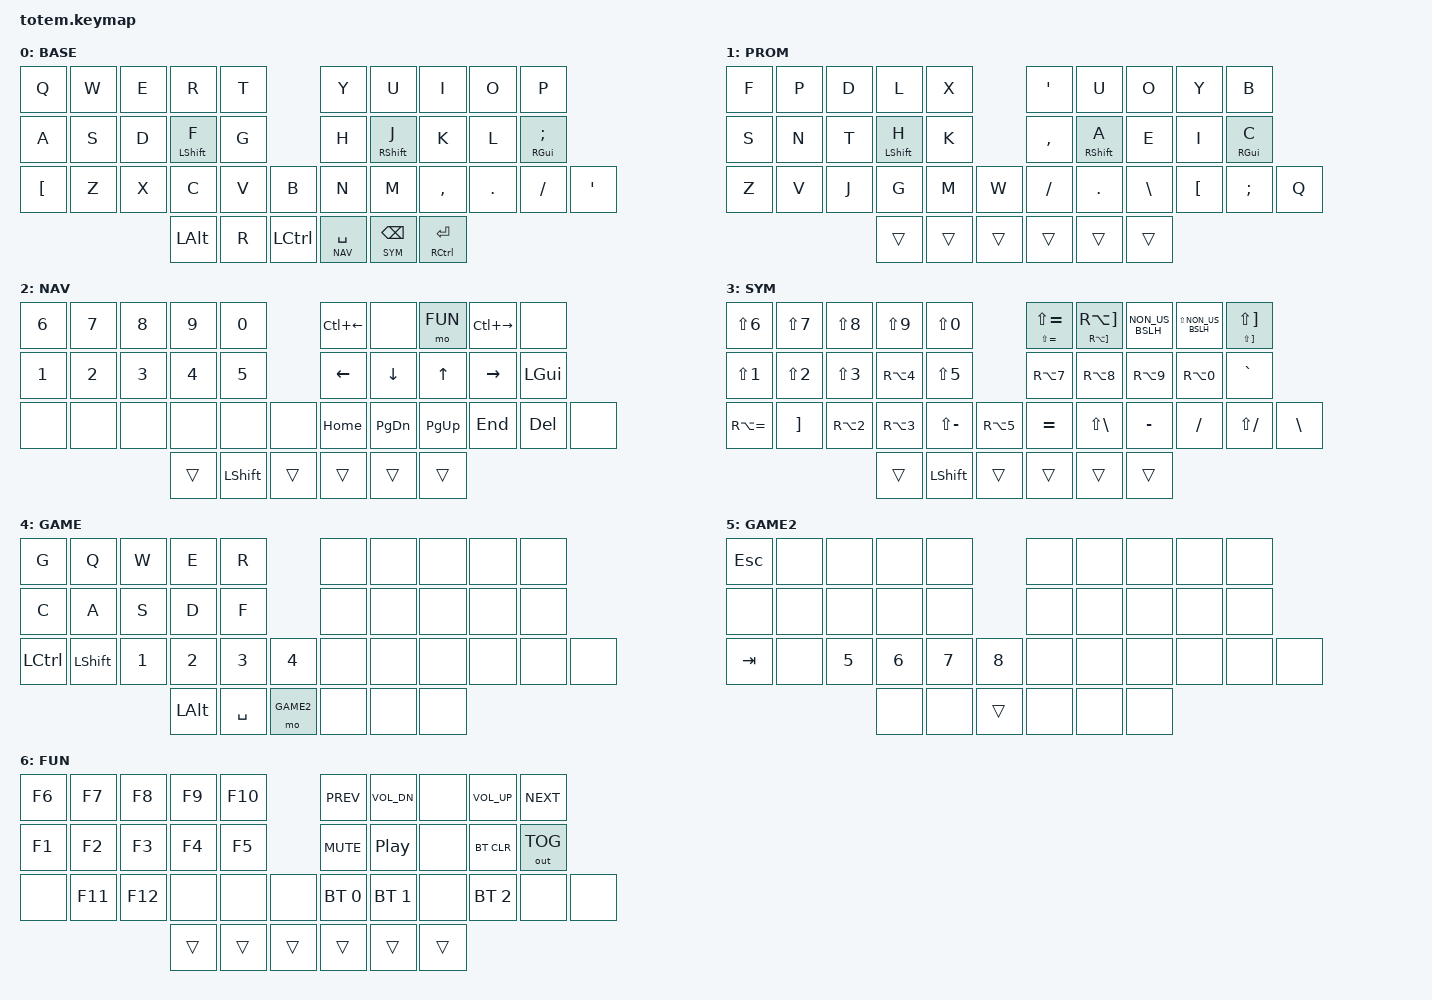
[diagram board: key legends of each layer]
// TOTEM — Norwegian layout (assumes OS set to standard Norwegian)
// BASE:  qwerty · shift-only homerow mods · bare LALT/R/LCTL on left thumb
// PROM:  toggled Hands Down Promethium (Norwegian-tuned), combo top corners
// NAV:   hold SPC (right INNER thumb) — numbers left, vim nav right, LSHFT+LGUI added
// SYM:   hold BSP (right MIDDLE thumb) — number-derived left, punctuation right
// FUN:   hold SPC (NAV) + the FUN key on NAV pos 7 (right middle finger)
// Layer order is load-bearing: PROM (toggle) below NAV/SYM (holds); FUN on top.
// FUN is reached thumb+finger on ONE hand, leaving the left hand free for F-keys.
// ESC = combo 27+28 · TAB = combo 18+29 · Caps Word = combo 13+16
// Every always-live combo needs at least one RIGHT-hand key; GAME never uses
// the right hand, so no combo can fire while gaming.
//
// SPC sits on the INNER right thumb key because it is the single most frequent
// keystroke (~17% of all input) and that is the most comfortable thumb position.

#include <behaviors.dtsi>
#include <dt-bindings/zmk/keys.h>
#include <dt-bindings/zmk/bt.h>
#include <dt-bindings/zmk/outputs.h>

#define BASE  0
#define PROM  1
#define NAV   2
#define SYM   3
#define GAME  4
#define GAME2 5
#define FUN   6

&mt {   // used for RGUI on Ø (BASE) / C (PROM)
    quick-tap-ms = <100>;
    require-prior-idle-ms = <100>;
    flavor = "tap-preferred";
    tapping-term-ms = <220>;
};

&lt {   // NAV on SPC, SYM on BSP — tap-then-hold repeats the key
    flavor = "balanced";
    tapping-term-ms = <200>;
    quick-tap-ms = <175>;
};

&caps_word {   // survive Norwegian letters, digits and separators inside a word
    continue-list = <BSPC DEL N1 N2 N3 N4 N5 N6 N7 N8 N9 N0 LBKT SEMI SQT FSLH LS(FSLH)>;
};

/ {
    macros {
        // ` ~ ^ are DEAD KEYS on the Norwegian layout: pressing them alone
        // emits nothing until a following character. Tapping space after
        // commits the bare character; the space is consumed, not inserted,
        // so ``` for a code fence still comes out as three backticks.
        // Parameterised so one macro serves all three dead keys.
        m_dead: m_dead {
            compatible = "zmk,behavior-macro-one-param";
            #binding-cells = <1>;
            wait-ms = <10>;
            tap-ms = <10>;
            bindings = <&macro_param_1to1 &kp MACRO_PLACEHOLDER>, <&kp SPACE>;
        };
    };

    behaviors {
        // Shift-only homerow mods: cross-hand holds, lenient idle so
        // mid-flow capitals still work (ctrl/alt live on the thumbs).
        // No hold-trigger-on-release: with ctrl/alt on thumbs there is only
        // one homerow mod per hand, so there is nothing to stack with and
        // deferring the decision would only delay shift.
        // If capitals start dropping at speed, lower require-prior-idle-ms
        // (85 -> 50 -> 0). Safe here: shift is the ONLY homerow mod and the
        // positional guard already rules out same-hand false positives.
        hsl: hrm_shift_left {
            compatible = "zmk,behavior-hold-tap";
            #binding-cells = <2>;
            flavor = "balanced";
            tapping-term-ms = <220>;
            quick-tap-ms = <100>;
            require-prior-idle-ms = <85>;
            bindings = <&kp>, <&kp>;
            hold-trigger-key-positions = <5 6 7 8 9 15 16 17 18 19 26 27 28 29 30 31 32 33 34 35 36 37>;
        };
        hsr: hrm_shift_right {
            compatible = "zmk,behavior-hold-tap";
            #binding-cells = <2>;
            flavor = "balanced";
            tapping-term-ms = <220>;
            quick-tap-ms = <100>;
            require-prior-idle-ms = <85>;
            bindings = <&kp>, <&kp>;
            hold-trigger-key-positions = <0 1 2 3 4 10 11 12 13 14 20 21 22 23 24 25 32 33 34 35 36 37>;
        };
        // RET tap / RCTL hold: never mid-roll, so a hold-tap is safe here.
        mtt: mod_tap_ret {
            compatible = "zmk,behavior-hold-tap";
            #binding-cells = <2>;
            flavor = "balanced";
            tapping-term-ms = <200>;
            quick-tap-ms = <150>;
            require-prior-idle-ms = <100>;
            bindings = <&kp>, <&kp>;
        };
        // Dead key: TAP gives the bare character, HOLD gives the raw dead key
        // so it can still combine with a following letter (^ + o = ô in "fôr",
        // ` + e = è). tap-preferred because the bare character is the common
        // case and any interrupting key should resolve as a tap.
        dk: dead_key {
            compatible = "zmk,behavior-hold-tap";
            #binding-cells = <2>;
            flavor = "tap-preferred";
            tapping-term-ms = <250>;
            quick-tap-ms = <0>;
            bindings = <&kp>, <&m_dead>;
        };
    };

    combos {
        compatible = "zmk,combos";
        // No `layers` list on the always-live combos: ZMK ORs the list against
        // active layers and layer 0 is always active, so any list containing
        // BASE is a no-op. Omitted rather than misleading. GAME safety comes
        // from every pair needing a right-hand key, which GAME never uses.
        combo_esc {
            timeout-ms = <50>;
            require-prior-idle-ms = <125>;
            key-positions = <27 28>;
            bindings = <&kp ESC>;
        };
        combo_tab {
            timeout-ms = <50>;
            require-prior-idle-ms = <125>;
            key-positions = <18 29>;
            bindings = <&kp TAB>;
        };
        combo_caps {
            timeout-ms = <50>;
            require-prior-idle-ms = <125>;
            key-positions = <13 16>;
            bindings = <&caps_word>;
        };
        combo_prom {
            timeout-ms = <50>;
            require-prior-idle-ms = <125>;
            key-positions = <0 9>;
            bindings = <&tog PROM>;
        };
        combo_game {
            timeout-ms = <50>;
            require-prior-idle-ms = <125>;
            key-positions = <20 31>;
            bindings = <&tog GAME>;
        };
        // FUN is not the default layer, so this list IS a real restriction.
        // Both pairs sit on &none keys, so a single press does nothing.
        combo_boot {
            timeout-ms = <50>;
            key-positions = <23 24>;
            bindings = <&bootloader>;
            layers = <FUN>;
        };
        combo_reset {
            timeout-ms = <50>;
            key-positions = <30 31>;
            bindings = <&sys_reset>;
            layers = <FUN>;
        };
    };

    keymap {
        compatible = "zmk,keymap";

        base_layer {
            display-name = "BASE";
            bindings = <
&kp Q       &kp W       &kp E       &kp R        &kp T          &kp Y       &kp U        &kp I       &kp O       &kp P
&kp A       &kp S       &kp D       &hsl LSHFT F &kp G          &kp H       &hsr RSHFT J &kp K       &kp L       &mt RGUI SEMI
&kp LBKT    &kp Z       &kp X       &kp C        &kp V   &kp B  &kp N       &kp M        &kp COMMA   &kp DOT     &kp FSLH    &kp SQT
                                    &kp LALT  &kp R  &kp LCTRL  &lt NAV SPACE &lt SYM BSPC &mtt RCTRL RET
            >;
        };

        prom_layer {
            display-name = "PROM";
//  f p d l x         æ u o y b
//  s n t h k         , a e i c
// z v j g m w        - . ' å ø q      (J/W swapped vs stock for kj)
//  thumbs fall through to BASE
            bindings = <
&kp F       &kp P       &kp D       &kp L        &kp X          &kp SQT     &kp U        &kp O       &kp Y       &kp B
&kp S       &kp N       &kp T       &hsl LSHFT H &kp K          &kp COMMA   &hsr RSHFT A &kp E       &kp I       &mt RGUI C
&kp Z       &kp V       &kp J       &kp G        &kp M   &kp W  &kp FSLH    &kp DOT      &kp BSLH    &kp LBKT    &kp SEMI    &kp Q
                                    &trans    &trans &trans     &trans      &trans       &trans
            >;
        };

        nav_layer {
            display-name = "NAV";
//  6 7 8 9 0        wordL  _  FUN  wordR  _
//  1 2 3 4 5          <     v   ^    >   GUI
//  _ _ _ _ _        Home  PgDn PgUp End  Del
//  thumb: LALT SHIFT LCTL  (shift is what makes shift+arrow work)
            bindings = <
&kp N6      &kp N7      &kp N8      &kp N9       &kp N0         &kp LC(LEFT) &none       &mo FUN     &kp LC(RIGHT) &none
&kp N1      &kp N2      &kp N3      &kp N4       &kp N5         &kp LEFT    &kp DOWN     &kp UP      &kp RIGHT   &kp LGUI
&none       &none       &none       &none        &none   &none  &kp HOME    &kp PG_DN    &kp PG_UP   &kp END     &kp DEL     &none
                                    &trans  &kp LSHFT  &trans   &trans      &trans       &trans
            >;
        };

        sym_layer {
            display-name = "SYM";
//  &  /  (  )  =      `  ~  <  >  ^        left = number-derived:
//  !  "  #  $  %      {  [  ]  }  |          row1 = shift+digit (4 → AltGr = $)
//  ´  ¨  @  £  ?  €   \  *  +  -  _  '       row2 = AltGr+digit in the same column
//  thumb: LALT SHIFT LCTL
//  ´ and ¨ are RAW dead keys on the hand opposite the PROM vowels: é, ö, ü.
//  ` ~ ^ are hold-taps: tap = bare character, hold = raw dead key (ô, è).
            bindings = <
&kp LS(N6)  &kp LS(N7)  &kp LS(N8)  &kp LS(N9)   &kp LS(N0)     &dk LS(EQUAL) LS(EQUAL) &dk RA(RBKT) RA(RBKT) &kp NON_US_BSLH &kp LS(NON_US_BSLH) &dk LS(RBKT) LS(RBKT)
&kp LS(N1)  &kp LS(N2)  &kp LS(N3)  &kp RA(N4)   &kp LS(N5)     &kp RA(N7)  &kp RA(N8)   &kp RA(N9)  &kp RA(N0)  &kp GRAVE
&kp RA(EQUAL) &kp RBKT  &kp RA(N2)  &kp RA(N3)   &kp LS(MINUS) &kp RA(N5)  &kp EQUAL   &kp LS(BSLH) &kp MINUS   &kp FSLH    &kp LS(FSLH) &kp BSLH
                                    &trans  &kp LSHFT  &trans   &trans      &trans       &trans
            >;
        };

        game_layer {
            display-name = "GAME";
            bindings = <
&kp G       &kp Q       &kp W       &kp E        &kp R          &none       &none        &none       &none       &none
&kp C       &kp A       &kp S       &kp D        &kp F          &none       &none        &none       &none       &none
&kp LCTRL   &kp LSHFT   &kp N1      &kp N2       &kp N3  &kp N4 &none       &none        &none       &none       &none       &none
                                    &kp LALT  &kp SPACE  &mo GAME2  &none   &none        &none
            >;
        };

        game2_layer {
            display-name = "GAME2";
            bindings = <
&kp ESC     &none       &none       &none        &none          &none       &none        &none       &none       &none
&none       &none       &none       &none        &none          &none       &none        &none       &none       &none
&kp TAB     &none       &kp N5      &kp N6       &kp N7  &kp N8 &none       &none        &none       &none       &none       &none
                                    &none    &none  &trans      &none       &none        &none
            >;
        };

        fun_layer {
            display-name = "FUN";
//  F6 F7 F8 F9 F10     PREV VOL-  --  VOL+ NEXT     -- = middle column, kept clear
//  F1 F2 F3 F4 F5      MUTE PLAY  --  BTclr OUT        because that finger holds
//  _  F11 F12 _ _ _    BT0  BT1   --  BT2   _   _      the FUN key on NAV
//  thumbs all &trans — NAV hold and the thumb mods must stay alive
//  boot = 23+24, reset = 30+31 (all four are &none here)
            bindings = <
&kp F6      &kp F7      &kp F8      &kp F9       &kp F10        &kp C_PREV  &kp C_VOL_DN &none      &kp C_VOL_UP &kp C_NEXT
&kp F1      &kp F2      &kp F3      &kp F4       &kp F5         &kp C_MUTE  &kp C_PP     &none      &bt BT_CLR   &out OUT_TOG
&none       &kp F11     &kp F12     &none        &none   &none  &bt BT_SEL 0 &bt BT_SEL 1 &none     &bt BT_SEL 2 &none       &none
                                    &trans   &trans  &trans     &trans      &trans       &trans
            >;
        };
    };
};
